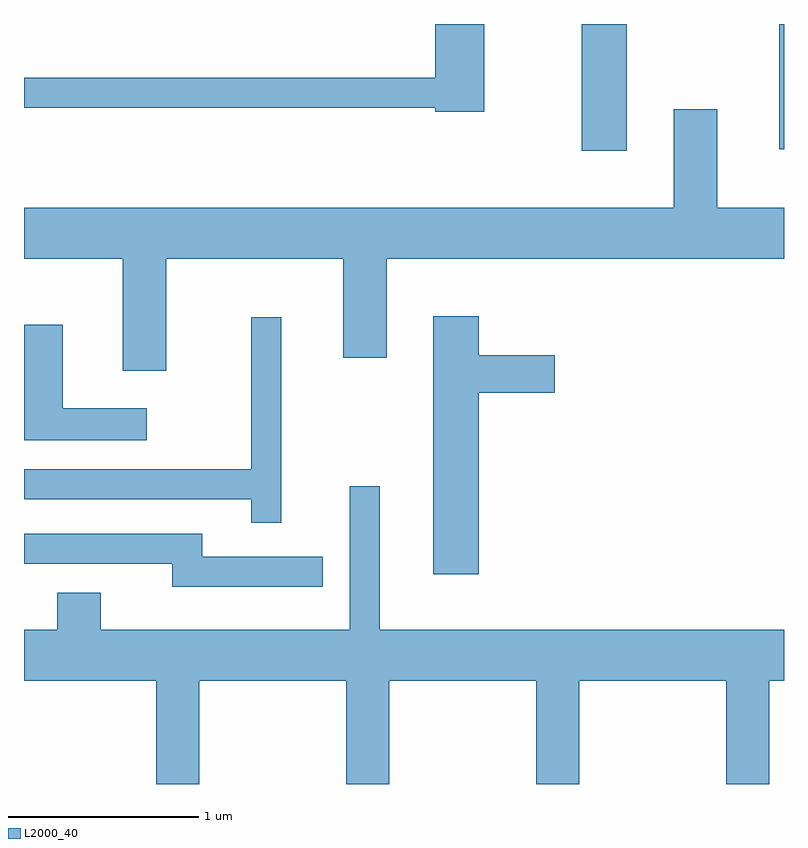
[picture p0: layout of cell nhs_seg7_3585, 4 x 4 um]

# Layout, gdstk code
import gdstk
lib = gdstk.Library(unit=1e-6, precision=1e-09)
def R(c, l, rs):  # rectangles x0, y0, x1, y1
    for r in rs: c.add(gdstk.rectangle(r[:2], r[2:], *l))
def P(c, l, *ps):  # polygons
    for p in ps: c.add(gdstk.Polygon(p, *l))
L2000_40 = (2000, 40)

nhs_seg7_3585 = lib.new_cell('nhs_seg7_3585')
R(nhs_seg7_3585, L2000_40, [(298.546,1681.586,298.784,1682.252), (299.586,1681.593,299.611,1682.252)])
P(nhs_seg7_3585, L2000_40, [(298.034,1682.252),(297.776,1682.252),(297.776,1681.969),(295.611,1681.969),(295.611,1681.811),(297.776,1681.811),(297.776,1681.791),(298.034,1681.791)],
  [(296.359,1681.016),(297.291,1681.016),(297.291,1680.496),(297.519,1680.496),(297.519,1681.016),(299.611,1681.016),(299.611,1681.284),(299.259,1681.284),(299.259,1681.804),(299.031,1681.804),(299.031,1681.284),(295.611,1681.284),(295.611,1681.016),(296.131,1681.016),(296.131,1680.426),(296.359,1680.426)],
  [(298.004,1680.311),(298.404,1680.311),(298.404,1680.509),(298.004,1680.509),(298.004,1680.714),(297.766,1680.714),(297.766,1679.356),(298.004,1679.356)],
  [(296.964,1680.708),(296.806,1680.708),(296.806,1679.909),(295.611,1679.909),(295.611,1679.751),(296.806,1679.751),(296.806,1679.628),(296.964,1679.628)],
  [(296.258,1680.229),(295.814,1680.229),(295.814,1680.669),(295.611,1680.669),(295.611,1680.061),(296.258,1680.061)],
  [(296.534,1678.796),(297.306,1678.796),(297.306,1678.252),(297.534,1678.252),(297.534,1678.796),(298.306,1678.796),(298.306,1678.252),(298.534,1678.252),(298.534,1678.796),(299.306,1678.796),(299.306,1678.252),(299.534,1678.252),(299.534,1678.796),(299.611,1678.796),(299.611,1679.064),(297.484,1679.064),(297.484,1679.818),(297.326,1679.818),(297.326,1679.064),(296.014,1679.064),(296.014,1679.259),(295.786,1679.259),(295.786,1679.064),(295.611,1679.064),(295.611,1678.796),(296.306,1678.796),(296.306,1678.252),(296.534,1678.252)],
  [(297.183,1679.449),(296.549,1679.449),(296.549,1679.569),(295.611,1679.569),(295.611,1679.411),(296.391,1679.411),(296.391,1679.291),(297.183,1679.291)])

lib.write_gds('nhs_seg7_3585.gds')
